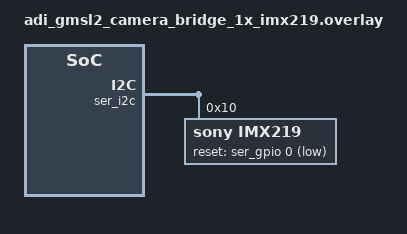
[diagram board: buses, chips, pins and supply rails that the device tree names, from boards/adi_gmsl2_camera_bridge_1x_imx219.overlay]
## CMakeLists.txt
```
# SPDX-License-Identifier: Apache-2.0

cmake_minimum_required(VERSION 3.28.0)
find_package(Zephyr REQUIRED HINTS $ENV{ZEPHYR_BASE})
project(video_capture)

target_sources(app PRIVATE src/main.c)
target_sources_ifdef(CONFIG_VIDEO_TRANSFORM_NXP_JPEGDEC app PRIVATE src/transform_nxp_jpegdec.c)
target_sources_ifdef(CONFIG_VIDEO_TRANSFORM_NXP_PNGDEC app PRIVATE src/transform_nxp_pngdec.c)
```

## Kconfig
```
# Copyright (c) 2024 Espressif Systems (Shanghai) Co., Ltd.
# SPDX-License-Identifier: Apache-2.0

mainmenu "Video capture sample application"

menu "Video capture configuration"

config VIDEO_SOURCE_CROP_LEFT
	int "Crop area left value"
	default 0
	help
	   Left value of the crop area within the video source.

config VIDEO_SOURCE_CROP_TOP
	int "Crop area top value"
	default 0
	help
	   Top value of the crop area within the video source.

config VIDEO_SOURCE_CROP_WIDTH
	int "Crop area width value"
	default 0
	help
	   Width value of the crop area within the video source.
	   If set to 0, the crop is not applied.

config VIDEO_SOURCE_CROP_HEIGHT
	int "Crop area height value"
	default 0
	help
	   Height value of the crop area within the video source.
	   If set to 0, the crop is not applied.

config VIDEO_FRAME_HEIGHT
	int "Height of the video frame"
	default 0
	help
	  Height of the video frame. If set to 0, the default height is used.

config VIDEO_FRAME_WIDTH
	int "Width of the video frame"
	default 0
	help
	  Width of the video frame. If set to 0, the default width is used.

config VIDEO_PIXEL_FORMAT
	string "Pixel format of the video frame"
	help
	  Pixel format of the video frame. If not set, the default pixel format is used.

config VIDEO_CTRL_HFLIP
	bool "Mirror the video frame horizontally"
	help
	  If set, mirror the video frame horizontally

config VIDEO_CTRL_VFLIP
	bool "Mirror the video frame vertically"
	help
	  If set, mirror the video frame vertically

config VIDEO_CAM_NUM_BUFS
	int "Number of video buffers used for the camera"
	default 2
	help
	  Number of buffers in the video buffer pool used for the camera device.
	  The rest of the buffer pool will be used for other purposes such as transformation.

choice VIDEO_TRANSFORM
	prompt "Video transform implementation"
	bool
	optional
	help
	  The captured frame will go through m2m transforms defined in a separate .c file.
	  The implementation could include "transform.h" which provides helper functions
	  for setting up and executing the transformation.

config VIDEO_TRANSFORM_NXP_JPEGDEC
	bool "Use NXP JPEG decoder for video transform"
	depends on VIDEO_MCUX_JPEGDEC
	help
	  Use NXP JPEG decoder to decompress JPEG frames

config VIDEO_TRANSFORM_NXP_PNGDEC
	bool "Use NXP PNG decoder for video transform"
	depends on VIDEO_MCUX_PNGDEC
	help
	  Use NXP PNG decoder to decompress PNG frames

endchoice

endmenu

source "Kconfig.zephyr"
```

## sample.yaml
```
sample:
  name: Video capture
tests:
  sample.video.capture:
    build_only: true
    tags:
      - video
      - shield
      - samples
    extra_args:
      - platform:mimxrt1064_evk:SHIELD="dvp_fpc24_mt9m114;rk043fn66hs_ctg"
      - platform:mimxrt1170_evk/mimxrt1176/cm7:SHIELD="nxp_btb44_ov5640;rk055hdmipi4ma0"
    platform_allow:
      - mimxrt1064_evk
      - mimxrt1170_evk/mimxrt1176/cm7
      - mm_swiftio
    depends_on: video
    integration_platforms:
      - mimxrt1064_evk
      - mimxrt1170_evk/mimxrt1176/cm7
```

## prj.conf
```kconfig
CONFIG_VIDEO=y
CONFIG_SHELL=y
CONFIG_VIDEO_SHELL=y
CONFIG_LOG=y
CONFIG_DISPLAY=y
CONFIG_REQUIRES_FLOAT_PRINTF=y
CONFIG_LOG_MODE_DEFERRED=y
```

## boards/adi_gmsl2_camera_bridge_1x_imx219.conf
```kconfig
# Copyright (c) 2026 Charles Dias
# SPDX-License-Identifier: Apache-2.0

# IMX219 behind the GMSL2 bridge: the sensor streams 1600x960 RAW10 and the
# DCMIPP scales and converts it to the sample's capture format.
CONFIG_VIDEO_STM32_DCMIPP_SENSOR_WIDTH=1600
CONFIG_VIDEO_STM32_DCMIPP_SENSOR_HEIGHT=960

# The controls listed at boot overflow the default log buffer.
CONFIG_LOG_BUFFER_SIZE=4096
```

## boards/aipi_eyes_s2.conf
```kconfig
CONFIG_VIDEO_BUFFER_POOL_HEAP_SIZE=3841024
CONFIG_VIDEO_BUFFER_POOL_ZEPHYR_REGION=y
CONFIG_VIDEO_BUFFER_POOL_ZEPHYR_REGION_NAME="PSRAM"
CONFIG_VIDEO_FRAME_WIDTH=1600
CONFIG_VIDEO_FRAME_HEIGHT=1200
CONFIG_VIDEO_PIXEL_FORMAT="RGBP"

# Assuming display is not attached
CONFIG_SHELL=y
CONFIG_VIDEO_SHELL=y
```

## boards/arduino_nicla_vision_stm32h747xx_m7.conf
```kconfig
# SPDX-FileCopyrightText: Copyright The Zephyr Project Contributors
# SPDX-License-Identifier: Apache-2.0

CONFIG_VIDEO_BUFFER_POOL_HEAP_SIZE=320000
CONFIG_DMA=y

CONFIG_MAIN_STACK_SIZE=4096

CONFIG_SERIAL=y
CONFIG_CONSOLE=y
CONFIG_UART_CONSOLE=y
CONFIG_UART_LINE_CTRL=y
```

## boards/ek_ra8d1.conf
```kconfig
CONFIG_VIDEO_FRAME_WIDTH=320
CONFIG_VIDEO_FRAME_HEIGHT=240
CONFIG_VIDEO_BUFFER_POOL_HEAP_SIZE=310000
```

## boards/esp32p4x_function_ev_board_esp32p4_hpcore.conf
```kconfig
CONFIG_VIDEO_FRAME_WIDTH=1024
CONFIG_VIDEO_FRAME_HEIGHT=600
CONFIG_VIDEO_PIXEL_FORMAT="RGBP"
```

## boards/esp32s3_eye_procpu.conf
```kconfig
CONFIG_VIDEO_BUFFER_POOL_HEAP_SIZE=230800
CONFIG_SOC_FAMILY_ESPRESSIF_SPIRAM=y
CONFIG_SOC_FAMILY_ESPRESSIF_SPIRAM_MODE_OCT=y
CONFIG_VIDEO_BUFFER_POOL_ALIGN=32
CONFIG_VIDEO_FRAME_HEIGHT=240
CONFIG_VIDEO_FRAME_WIDTH=240
CONFIG_VIDEO_PIXEL_FORMAT="RGBP"
CONFIG_VIDEO_CTRL_VFLIP=y
```

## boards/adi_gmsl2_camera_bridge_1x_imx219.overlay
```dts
/*
 * Copyright (c) 2026 Charles Dias
 *
 * SPDX-License-Identifier: Apache-2.0
 *
 * IMX219 of a Raspberry Pi Camera Module 2 on the serializer board of the ADI GMSL2
 * camera bridge, with the raspberry_pi_camera_module_2 shield listed before the
 * adi_gmsl2_camera_bridge shield.
 */

#include <zephyr/dt-bindings/gpio/gpio.h>
#include <zephyr/dt-bindings/video/video-interfaces.h>

/*
 * The camera shield declares the sensor on the host bus, where it sits without the bridge.
 * Behind the bridge every access to it goes through the deserializer and the serializer, so
 * the node is recreated under the serializer's I2C gate with the same labels and clock.
 */
/delete-node/ &imx219;

&ser_i2c {
	imx219: imx219@10 {
		compatible = "sony,imx219";
		reg = <0x10>;
		clocks = <&imx219_input_clock>;
		/*
		 * The module's ENABLE (FFC pin 11) sits on serializer MFP0. It powers the module,
		 * so "reset released" must be high: declare it active low.
		 */
		reset-gpios = <&ser_gpio 0 GPIO_ACTIVE_LOW>;

		port {
			imx219_ep_out: endpoint {
				remote-endpoint-label = "ser_csi_in";
				bus-type = <VIDEO_BUS_TYPE_CSI2_DPHY>;
				data-lanes = <1 2>;
			};
		};
	};
};

&max96717 {
	ports {
		port@0 {
			reg = <0>;

			ser_csi_in: endpoint {
				remote-endpoint-label = "imx219_ep_out";
				bus-type = <VIDEO_BUS_TYPE_CSI2_DPHY>;
				data-lanes = <1 2>;
			};
		};
	};
};
```

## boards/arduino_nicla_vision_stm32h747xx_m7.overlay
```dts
/*
 * Copyright 2024 Felipe Neves
 *
 * SPDX-License-Identifier: Apache-2.0
 */
/ {
	chosen {
		zephyr,console = &cdc_acm_uart0;
		zephyr,shell-uart = &cdc_acm_uart0;
	};
};

zephyr_udc0: &usbotg_hs {
	status = "okay";

	cdc_acm_uart0: cdc_acm_uart0 {
		compatible = "zephyr,cdc-acm-uart";
	};
};
```

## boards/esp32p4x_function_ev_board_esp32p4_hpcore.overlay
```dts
/*
 * Copyright (c) 2026 Espressif Systems (Shanghai) Co., Ltd.
 *
 * SPDX-License-Identifier: Apache-2.0
 */

/* The camera interface produces RGB565 frames */
&ek79007 {
	pixel-format = <MIPI_DSI_PIXFMT_RGB565>;
};

&dsi_display {
	pixel-format = <PANEL_PIXEL_FORMAT_RGB_565>;
};
```

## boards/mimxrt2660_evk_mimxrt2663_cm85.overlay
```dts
/*
 * Copyright 2026 NXP
 * SPDX-License-Identifier: Apache-2.0
 */

/ {
	chosen {
		zephyr,camera = &video_sw_generator;
		zephyr,videodec = &jpegdec;
	};

	video_sw_generator: video-sw-generator {
		compatible = "zephyr,video-sw-generator";
	};
};
```

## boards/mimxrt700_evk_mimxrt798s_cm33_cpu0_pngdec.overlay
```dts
/*
 * Copyright 2026 NXP
 *
 * SPDX-License-Identifier: Apache-2.0
 *
 */

/ {
	chosen {
		zephyr,camera = &video_sw_generator;
		zephyr,videodec = &pngdec;
	};

	video_sw_generator: video-sw-generator {
		compatible = "zephyr,video-sw-generator";
	};
};
```

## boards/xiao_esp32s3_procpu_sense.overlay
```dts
/*
 * SPDX-FileCopyrightText: Copyright (c) 2026 Henrik Brix Andersen <henrik@brixandersen.dk>
 *
 * SPDX-License-Identifier: Apache-2.0
 */

&gc9a01_xiao_round_display {
	orientation = "270";
};
```

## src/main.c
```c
/*
 * Copyright (c) 2019 Linaro Limited
 * Copyright 2025-2026 NXP
 *
 * SPDX-License-Identifier: Apache-2.0
 */

#include <zephyr/kernel.h>
#include <zephyr/device.h>

#include <zephyr/drivers/display.h>
#include <zephyr/logging/log.h>
#include <zephyr/video/video.h>

LOG_MODULE_REGISTER(main, CONFIG_LOG_DEFAULT_LEVEL);

/*
 * Include transform.h unconditionally to ensure it's compiled and checked by CI,
 * even though the functions in this header are not used here at all.
 * This prevents silent breakage when APIs change.
 */
#include "transform.h"

#if !DT_HAS_CHOSEN(zephyr_camera)
#error No camera chosen in devicetree. Missing "--shield" or "--snippet video-sw-generator" flag?
#endif

/* The default transform implementation is a pass-through when no transform device is available */
int __weak app_setup_video_transform(const struct device *const transform_dev,
				     struct video_format *const in_fmt,
				     struct video_format *const out_fmt,
				     struct video_buffer **out_buf)
{
	*out_fmt = *in_fmt;

	return 0;
}

int __weak app_transform_frame(const struct device *const transform_dev,
			       struct video_buffer *in_buf, struct video_buffer **out_buf)
{
	*out_buf = in_buf;

	return 0;
}

static inline int app_setup_display(const struct device *const display_dev, const uint32_t pixfmt)
{
	struct display_capabilities capabilities;
	const uint32_t display_fmt = VIDEO_FMT_TO_DISPLAY(pixfmt);
	int ret = 0;

	LOG_INF("Display device: %s", display_dev->name);

	if (!device_is_ready(display_dev)) {
		LOG_ERR("%s: display device not ready.", display_dev->name);
		return -ENOSYS;
	}

	display_get_capabilities(display_dev, &capabilities);

	LOG_INF("- Capabilities:");
	LOG_INF("  x_resolution = %u, y_resolution = %u, supported_pixel_formats = %u"
		"  current_pixel_format = %u, current_orientation = %u",
		capabilities.x_resolution, capabilities.y_resolution,
		capabilities.supported_pixel_formats, capabilities.current_pixel_format,
		capabilities.current_orientation);

	if (display_fmt == 0) {
		LOG_ERR("Display pixel format not supported by this sample");
		return -ENOTSUP;
	}

	/* Set display pixel format to match the one in use by the camera */
	if (capabilities.current_pixel_format != display_fmt) {
		ret = display_set_pixel_format(display_dev, display_fmt);
	}

	if (ret < 0 && display_fmt == PIXEL_FORMAT_XRGB_8888) {
		/* If failed with PIXEL_FORMAT_XRGB_8888, PIXEL_FORMAT_ARGB_8888 is
		 * still applicable
		 */
		ret = display_set_pixel_format(display_dev, PIXEL_FORMAT_ARGB_8888);
	}

	/* Turn off blanking if driver supports it */
	ret = display_blanking_off(display_dev);
	if (ret == -ENOSYS) {
		LOG_DBG("Display blanking off not available");
		ret = 0;
	}

	return ret;
}

static int app_display_frame(const struct device *const display_dev,
			     const struct video_buffer *const vbuf,
			     const struct video_format *const fmt)
{
	struct display_buffer_descriptor buf_desc = {
		.buf_size = vbuf->bytesused,
		.width = fmt->width,
		.pitch = buf_desc.width,
		.height = vbuf->bytesused / fmt->pitch,
	};

	return display_write(display_dev, 0, vbuf->line_offset, &buf_desc, vbuf->buffer);
}

static int app_setup_video_selection(const struct device *const camera_dev,
				     const struct video_format *const fmt)
{
	struct video_selection sel = {
		.type = VIDEO_BUF_TYPE_OUTPUT,
	};
	int ret;

	/* Set the crop setting only if configured */
	if (CONFIG_VIDEO_SOURCE_CROP_WIDTH > 0) {
		sel.target = VIDEO_SEL_TGT_CROP;
		sel.rect.left = CONFIG_VIDEO_SOURCE_CROP_LEFT;
		sel.rect.top = CONFIG_VIDEO_SOURCE_CROP_TOP;
		sel.rect.width = CONFIG_VIDEO_SOURCE_CROP_WIDTH;
		sel.rect.height = CONFIG_VIDEO_SOURCE_CROP_HEIGHT;

		ret = video_set_selection(camera_dev, &sel);
		if (ret < 0) {
			LOG_ERR("Unable to set selection crop");
			return ret;
		}

		LOG_INF("Crop window set to (%u,%u)/%ux%u",
			sel.rect.left, sel.rect.top, sel.rect.width, sel.rect.height);
	}

	return 0;
}

static int app_query_video_info(const struct device *const camera_dev,
				struct video_caps *const caps,
				struct video_format *const fmt)
{
	int ret;

	LOG_INF("Camera device: %s", camera_dev->name);

	if (!device_is_ready(camera_dev)) {
		LOG_ERR("%s: camera device is not ready", camera_dev->name);
		return -ENOSYS;
	}

	/* Get capabilities */
	ret = video_get_caps(camera_dev, caps);
	if (ret < 0) {
		LOG_ERR("Unable to retrieve video capabilities");
		return ret;
	}

	LOG_INF("- Capabilities:");
	for (int i = 0; caps->format_caps[i].pixelformat; i++) {
		const struct video_format_cap *fcap = &caps->format_caps[i];

		LOG_INF("  %s width [%u; %u; %u] height [%u; %u; %u]",
			VIDEO_FOURCC_TO_STR(fcap->pixelformat),
			fcap->width_min, fcap->width_max, fcap->width_step,
			fcap->height_min, fcap->height_max, fcap->height_step);
	}

	/* Get default/native format */
	ret = video_get_format(camera_dev, fmt);
	if (ret < 0) {
		LOG_ERR("Unable to retrieve video format");
	}

	/* Adjust video format according to the configuration */
	if (CONFIG_VIDEO_FRAME_HEIGHT > 0) {
		fmt->height = CONFIG_VIDEO_FRAME_HEIGHT;
	}
	if (CONFIG_VIDEO_FRAME_WIDTH > 0) {
		fmt->width = CONFIG_VIDEO_FRAME_WIDTH;
	}
	if (strcmp(CONFIG_VIDEO_PIXEL_FORMAT, "") != 0) {
		fmt->pixelformat = VIDEO_FOURCC_FROM_STR(CONFIG_VIDEO_PIXEL_FORMAT);
	}

	return 0;
}

static int app_setup_video_format(const struct device *const camera_dev,
				  struct video_format *const fmt)
{
	int ret;

	LOG_INF("- Video format: %s %ux%u",
		VIDEO_FOURCC_TO_STR(fmt->pixelformat), fmt->width, fmt->height);

	ret = video_set_compose_format(camera_dev, fmt);
	if (ret < 0) {
		LOG_ERR("Unable to set format");
		return ret;
	}

	return 0;
}

static int app_setup_video_frmival(const struct device *const camera_dev,
				   struct video_format *const fmt)
{
	struct video_frmival frmival = {};
	struct video_frmival_enum fie = {
		.format = fmt,
	};
	int ret;

	LOG_INF("- Supported frame intervals for the default format:");

	while (video_enum_frmival(camera_dev, &fie) == 0) {
		if (fie.type == VIDEO_FRMIVAL_TYPE_DISCRETE) {
			LOG_INF("   %u/%u", fie.discrete.numerator, fie.discrete.denominator);
		} else {
			LOG_INF("   [min = %u/%u; max = %u/%u; step = %u/%u]",
				fie.stepwise.min.numerator, fie.stepwise.min.denominator,
				fie.stepwise.max.numerator, fie.stepwise.max.denominator,
				fie.stepwise.step.numerator, fie.stepwise.step.denominator);
		}
		fie.index++;
	}

	ret = video_get_frmival(camera_dev, &frmival);
	if (ret == -ENOTSUP || ret == -ENOSYS) {
		LOG_WRN("The video source does not support frame rate control");
	} else if (ret < 0) {
		LOG_ERR("Error while getting the frame interval");
		return ret;
	} else if (ret == 0) {
		LOG_INF("- Default frame rate : %f fps",
			1.0 * frmival.denominator / frmival.numerator);
	}

	return 0;
}

static int app_setup_video_controls(const struct device *const camera_dev)
{
	int ret;

	/* Get supported controls */
	LOG_INF("- Supported controls:");
	const struct device *last_dev = NULL;
	struct video_ctrl_query cq = {.dev = camera_dev, .id = VIDEO_CTRL_FLAG_NEXT_CTRL};

	while (video_query_ctrl(&cq) == 0) {
		if (cq.dev != last_dev) {
			last_dev = cq.dev;
			LOG_INF("\t\tdevice: %s", cq.dev->name);
		}
		video_print_ctrl(&cq);
		cq.id |= VIDEO_CTRL_FLAG_NEXT_CTRL;
	}

	/* Set controls */
	struct video_control ctrl = {.id = VIDEO_CID_HFLIP, .val = 1};

	if (IS_ENABLED(CONFIG_VIDEO_CTRL_HFLIP)) {
		ret = video_set_ctrl(camera_dev, &ctrl);
		if (ret < 0) {
			LOG_ERR("Failed to set horizontal flip");
			return ret;
		}
	}

	if (IS_ENABLED(CONFIG_VIDEO_CTRL_VFLIP)) {
		ctrl.id = VIDEO_CID_VFLIP;
		ret = video_set_ctrl(camera_dev, &ctrl);
		if (ret < 0) {
			LOG_ERR("Failed to set vertical flip");
			return ret;
		}
	}

	if (IS_ENABLED(CONFIG_TEST)) {
		ctrl.id = VIDEO_CID_TEST_PATTERN;
		ret = video_set_ctrl(camera_dev, &ctrl);
		if (ret < 0 && ret != -ENOTSUP) {
			LOG_WRN("Failed to set the test pattern");
		}
	}

	return 0;
}

static int app_setup_video_buffers(const struct device *const camera_dev,
				   struct video_caps *const caps,
				   struct video_format *const fmt)
{
	int ret;

	/* Alloc video buffers and enqueue for capture */
	if (caps->min_vbuf_count > CONFIG_VIDEO_CAM_NUM_BUFS) {
		LOG_ERR("Not enough buffers to start streaming");
		return -EINVAL;
	}

	for (uint8_t i = 0; i < CONFIG_VIDEO_CAM_NUM_BUFS; i++) {
		struct video_buffer *vbuf;

		/*
		 * For some hardwares, such as the PxP used on i.MX RT1170 to do image rotation,
		 * buffer alignment is needed in order to achieve the best performance
		 */
		vbuf = video_buffer_aligned_alloc(fmt->size, CONFIG_VIDEO_BUFFER_POOL_ALIGN,
						  K_NO_WAIT);
		if (vbuf == NULL) {
			LOG_ERR("Unable to alloc video buffer");
			return -ENOMEM;
		}

		vbuf->type = VIDEO_BUF_TYPE_OUTPUT;

		ret = video_enqueue(camera_dev, vbuf);
		if (ret < 0) {
			LOG_ERR("Failed to enqueue video buffer");
			return ret;
		}
	}

	return 0;
}

int main(void)
{
	const struct device *const camera_dev = DEVICE_DT_GET(DT_CHOSEN(zephyr_camera));
	const struct device *const display_dev = DEVICE_DT_GET_OR_NULL(DT_CHOSEN(zephyr_display));
	const struct device *transform_dev = NULL;
	struct video_buffer *camera_vbuf = &(struct video_buffer){};
	struct video_buffer *transformed_vbuf = &(struct video_buffer){};
	struct video_format camera_fmt = {
		.type = VIDEO_BUF_TYPE_OUTPUT,
	};
	struct video_format transformed_fmt = {
		.type = VIDEO_BUF_TYPE_OUTPUT,
	};
	struct video_caps caps = {
		.type = VIDEO_BUF_TYPE_OUTPUT,
	};
	unsigned int frame = 0;
	uint32_t last_ts = 0;
	int ret;

	transform_dev = DEVICE_DT_GET_OR_NULL(DT_CHOSEN(zephyr_videotrans));
	if (transform_dev == NULL) {
		transform_dev = DEVICE_DT_GET_OR_NULL(DT_CHOSEN(zephyr_videodec));
	}

	ret = app_query_video_info(camera_dev, &caps, &camera_fmt);
	if (ret < 0) {
		goto err;
	}

	ret = app_setup_video_selection(camera_dev, &camera_fmt);
	if (ret < 0) {
		goto err;
	}

	ret = app_setup_video_format(camera_dev, &camera_fmt);
	if (ret < 0) {
		goto err;
	}

	ret = app_setup_video_frmival(camera_dev, &camera_fmt);
	if (ret < 0) {
		goto err;
	}

	ret = app_setup_video_controls(camera_dev);
	if (ret < 0) {
		goto err;
	}

	ret = app_setup_video_transform(transform_dev, &camera_fmt, &transformed_fmt,
					&transformed_vbuf);
	if (ret < 0) {
		LOG_ERR("Unable to setup video transform");
		goto err;
	}

	if (DT_HAS_CHOSEN(zephyr_display) && IS_ENABLED(CONFIG_DISPLAY)) {
		ret = app_setup_display(display_dev, transformed_fmt.pixelformat);
		if (ret < 0) {
			goto err;
		}
	}

	ret = app_setup_video_buffers(camera_dev, &caps, &camera_fmt);
	if (ret < 0) {
		goto err;
	}

	ret = video_stream_start(camera_dev, VIDEO_BUF_TYPE_OUTPUT);
	if (ret < 0) {
		LOG_ERR("Unable to start capture (interface)");
		goto err;
	}

	LOG_INF("Capture started");

	camera_vbuf->type = VIDEO_BUF_TYPE_OUTPUT;
	while (1) {
		ret = video_dequeue(camera_dev, &camera_vbuf, K_FOREVER);
		if (ret < 0) {
			LOG_ERR("Unable to dequeue video buf");
			goto err;
		}

		LOG_INF("Got frame %u! size: %u; timestamp %u ms (delta %u ms)", frame++,
			camera_vbuf->bytesused, camera_vbuf->timestamp,
			camera_vbuf->timestamp - last_ts);
		last_ts = camera_vbuf->timestamp;

		ret = app_transform_frame(transform_dev, camera_vbuf, &transformed_vbuf);
		if (ret < 0) {
			LOG_ERR("Unable to transform video frame");
			goto err;
		}

		if (DT_HAS_CHOSEN(zephyr_display) && IS_ENABLED(CONFIG_DISPLAY)) {
			ret = app_display_frame(display_dev, transformed_vbuf, &transformed_fmt);
			if (ret != 0) {
				LOG_WRN("Failed to display this frame");
			}
		}

		ret = video_enqueue(camera_dev, camera_vbuf);
		if (ret < 0) {
			LOG_ERR("Unable to requeue video buf");
			goto err;
		}
	}

err:
	LOG_ERR("Aborting sample");
	return 0;
}
```

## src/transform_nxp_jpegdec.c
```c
/*
 * Copyright 2026 NXP
 *
 * SPDX-License-Identifier: Apache-2.0
 */

#include <zephyr/kernel.h>
#include <zephyr/device.h>
#include <zephyr/drivers/video.h>
#include <zephyr/logging/log.h>

LOG_MODULE_REGISTER(transform_nxp_jpegdec, CONFIG_LOG_DEFAULT_LEVEL);

#include "transform.h"

int app_setup_video_transform(const struct device *const transform_dev,
	struct video_format *const in_fmt,
	struct video_format *const out_fmt,
	struct video_buffer **out_buf)
{
	out_fmt->pixelformat = VIDEO_PIX_FMT_NV12; /* Decoder output format shall be NV12 */
	out_fmt->width = CONFIG_VIDEO_FRAME_WIDTH;
	out_fmt->height = CONFIG_VIDEO_FRAME_HEIGHT;
	out_fmt->pitch = out_fmt->width;
	out_fmt->size = out_fmt->width * out_fmt->height * 2U;

	int ret = setup_video_transform(transform_dev, in_fmt, out_fmt, out_buf);

	return ret;
}

int app_transform_frame(const struct device *const transform_dev, struct video_buffer *in_buf,
			struct video_buffer **out_buf)
{
	int ret = transform_frame(transform_dev, in_buf, out_buf);

	return ret;
}
```

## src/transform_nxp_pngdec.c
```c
/*
 * Copyright 2026 NXP
 *
 * SPDX-License-Identifier: Apache-2.0
 */

#include <zephyr/kernel.h>
#include <zephyr/device.h>
#include <zephyr/drivers/video.h>
#include <zephyr/logging/log.h>

LOG_MODULE_REGISTER(transform_nxp_pngdec, CONFIG_LOG_DEFAULT_LEVEL);

#include "transform.h"

int app_setup_video_transform(const struct device *const transform_dev,
	struct video_format *const in_fmt,
	struct video_format *const out_fmt,
	struct video_buffer **out_buf)
{
	out_fmt->pixelformat = VIDEO_PIX_FMT_RGBA32; /* Decoder output format shall be RGBA32 */
	out_fmt->width = CONFIG_VIDEO_FRAME_WIDTH;
	out_fmt->height = CONFIG_VIDEO_FRAME_HEIGHT;
	out_fmt->pitch = out_fmt->width * 4;
	out_fmt->size = out_fmt->pitch * out_fmt->height;

	return setup_video_transform(transform_dev, in_fmt, out_fmt, out_buf);
}

int app_transform_frame(const struct device *const transform_dev, struct video_buffer *in_buf,
			struct video_buffer **out_buf)
{
	return transform_frame(transform_dev, in_buf, out_buf);
}
```
